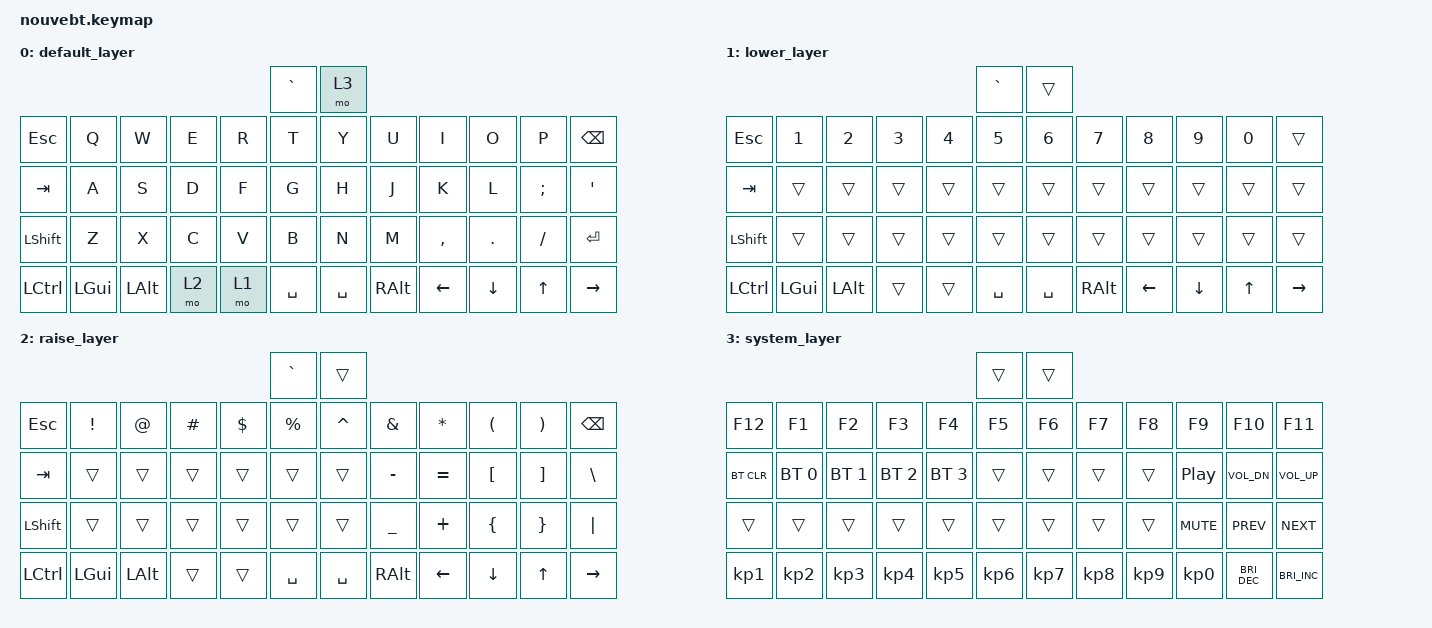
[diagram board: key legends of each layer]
#include <behaviors.dtsi>
#include <dt-bindings/zmk/keys.h>
#include <dt-bindings/zmk/bt.h>

/ {
    keymap {
        compatible = "zmk,keymap";

        // layer 0
        default_layer {
            bindings = <
&kp GRAVE                                                                     &mo 3
&kp ESC      &kp Q      &kp W      &kp E      &kp R      &kp T        &kp Y      &kp U      &kp I      &kp O      &kp P      &kp BSPC
&kp TAB      &kp A      &kp S      &kp D      &kp F      &kp G      &kp H   &kp J      &kp K      &kp L      &kp SEMI      &kp SQT
&kp LSHIFT      &kp Z      &kp X      &kp C      &kp V      &kp B   &kp N &kp M      &kp COMMA      &kp DOT  &kp FSLH    &kp ENTER
&kp LCTRL  &kp LGUI   &kp LALT   &mo 2  &mo 1  &kp SPACE      &kp SPACE    &kp RALT  &kp LEFT  &kp DOWN   &kp UP   &kp RIGHT
            >;
        };

        // layer 1
        lower_layer {
            bindings = <
&kp GRAVE                                                                      &trans
&kp ESC     &kp N1     &kp N2     &kp N3     &kp N4     &kp N5       &kp N6     &kp N7     &kp N8     &kp N9     &kp N0     &trans
&kp TAB     &trans     &trans     &trans     &trans     &trans       &trans     &trans     &trans     &trans     &trans     &trans
&kp LSHIFT     &trans     &trans     &trans     &trans     &trans       &trans     &trans     &trans     &trans     &trans     &trans
&kp LCTRL  &kp LGUI   &kp LALT   &trans  &trans  &kp SPACE      &kp SPACE    &kp RALT  &kp LEFT  &kp DOWN   &kp UP   &kp RIGHT
            >;
        };

        // layer 2
        raise_layer {
            bindings = <
&kp GRAVE                                                                      &trans
&kp ESC     &kp EXCL &kp AT &kp HASH &kp DLLR &kp PRCNT   &kp CARET &kp AMPS  &kp ASTRK &kp LPAR &kp RPAR     &kp BSPC
&kp TAB     &trans     &trans     &trans     &trans     &trans       &trans     &kp MINUS &kp EQUAL &kp LBKT  &kp RBKT &kp BSLH
&kp LSHIFT     &trans     &trans     &trans     &trans     &trans       &trans     &kp UNDER &kp PLUS  &kp LBRC  &kp RBRC &kp PIPE 
&kp LCTRL  &kp LGUI   &kp LALT   &trans  &trans  &kp SPACE      &kp SPACE    &kp RALT  &kp LEFT  &kp DOWN   &kp UP   &kp RIGHT
            >;
        };
        // layer 3
        system_layer {
            bindings = <
&trans                                                                  &trans
&kp F12     &kp F1     &kp F2     &kp F3     &kp F4     &kp F5       &kp F6     &kp F7     &kp F8     &kp F9     &kp F10     &kp F11
&bt BT_CLR &bt BT_SEL 0 &bt BT_SEL 1 &bt BT_SEL 2 &bt BT_SEL 3     &trans       &trans     &trans     &trans     &kp C_PP     &kp C_VOL_DN     &kp C_VOL_UP
&trans       &trans       &trans       &trans       &trans     &trans       &trans     &trans     &trans     &kp C_MUTE     &kp C_PREV     &kp C_NEXT
&kp KP_N1       &kp KP_N2       &kp KP_N3       &kp KP_N4       &kp KP_N5     &kp KP_N6       &kp KP_N7     &kp KP_N8     &kp KP_N9     &kp KP_N0     &kp C_BRI_DEC     &kp C_BRI_INC
            >;
        };
    };
};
